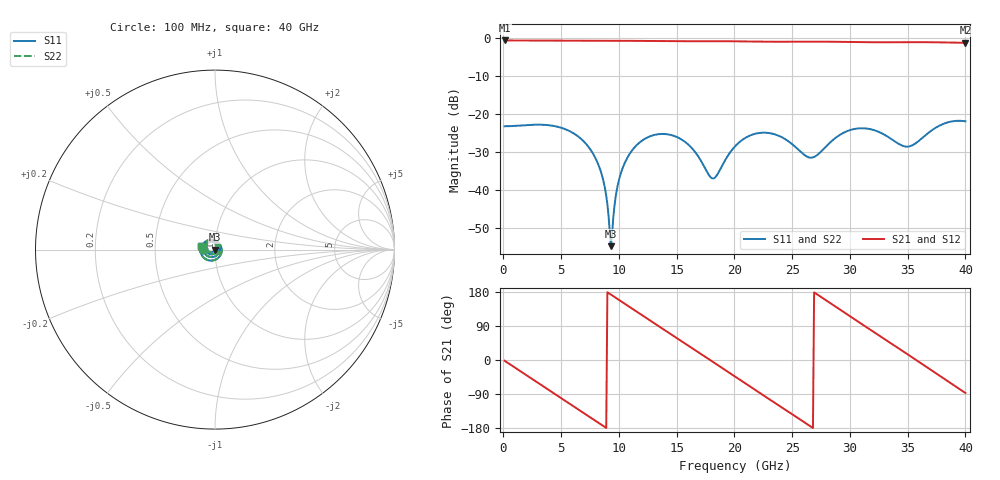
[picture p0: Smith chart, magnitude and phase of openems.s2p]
! thru_s8x4_L3: 2×thru, L3, 8 mm
! stackup: 8-layer 1.6 mm FR-4 without the L4 plane
! ports: 1, 2
! openEMS 0.37.0, staircase, fine mesh (dfine 0.0175 mm), 694512 cells
# Hz S RI R 50
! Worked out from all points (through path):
!   400 points, 100 MHz to 40 GHz, reference 50 ohm
!   highest |S21| = -0.62 dB at 100 MHz (marker M1); lowest = -1.2 dB at 40 GHz (marker M2)
!   group delay of S21, straight-line fit = 56 ps
!   lowest |S11| = -54.8 dB at 9.3 GHz (marker M3), VSWR 1.00, Z = 50.2 - j0.0761 ohm
!   |S11| at or under -10 dB: start of sweep to end of sweep
!   |S22| runs from -54.8 to -21.8 dB; largest |S21 - S12| = 0
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1e8  -0.0689 0.000718  0.9302 -0.0328  0.9302 -0.0328  -0.0689 0.000718
1.7e9  -0.0694 0.0139  0.7679 -0.525  0.7679 -0.525  -0.0694 0.0139
3.7e9  -0.0608 0.0379  0.2441 -0.8943  0.2441 -0.8943  -0.0608 0.0379
6.8e9  -0.00858 0.045  -0.6746 -0.6299  -0.6746 -0.6299  -0.00858 0.045
8.6e9  0.00634 0.0127  -0.9168 -0.1095  -0.9168 -0.1095  0.00634 0.0127
9e9  0.0044 0.00471  -0.923 0.0204  -0.923 0.0204  0.0044 0.00471
9.3e9  0.00165 -0.000758  -0.9156 0.1178  -0.9156 0.1178  0.00165 -0.000758
9.7e9  -0.00356 -0.00696  -0.8895 0.2454  -0.8895 0.2454  -0.00356 -0.00696
1.04e10  -0.0158 -0.0136  -0.8014 0.455  -0.8014 0.455  -0.0158 -0.0136
1.34e10  -0.049 0.0229  -0.000738 0.9119  -0.000738 0.9119  -0.049 0.0229
1.51e10  -0.0213 0.0442  0.5071 0.7546  0.5071 0.7546  -0.0213 0.0442
1.7e10  0.0138 0.0216  0.866 0.2811  0.866 0.2811  0.0138 0.0216
1.82e10  0.0122 -0.00724  0.9056 -0.0997  0.9056 -0.0997  0.0122 -0.00724
2.01e10  -0.0287 -0.0251  0.6434 -0.6394  0.6434 -0.6394  -0.0287 -0.0251
2.32e10  -0.039 0.0394  -0.2626 -0.8562  -0.2626 -0.8562  -0.039 0.0394
2.67e10  0.0256 -0.00731  -0.897 -0.0406  -0.897 -0.0406  0.0256 -0.00731
2.84e10  -0.0135 -0.0416  -0.7592 0.4754  -0.7592 0.4754  -0.0135 -0.0416
3.03e10  -0.0623 -0.00967  -0.2952 0.8366  -0.2952 0.8366  -0.0623 -0.00967
3.34e10  0.00122 0.0489  0.5974 0.6475  0.5974 0.6475  0.00122 0.0489
3.65e10  0.0129 -0.0502  0.8501 -0.2409  0.8501 -0.2409  0.0129 -0.0502
3.84e10  -0.0623 -0.0453  0.5058 -0.7141  0.5058 -0.7141  -0.0623 -0.0453
4e10  -0.0781 0.0179  0.0454 -0.8657  0.0454 -0.8657  -0.0781 0.0179
